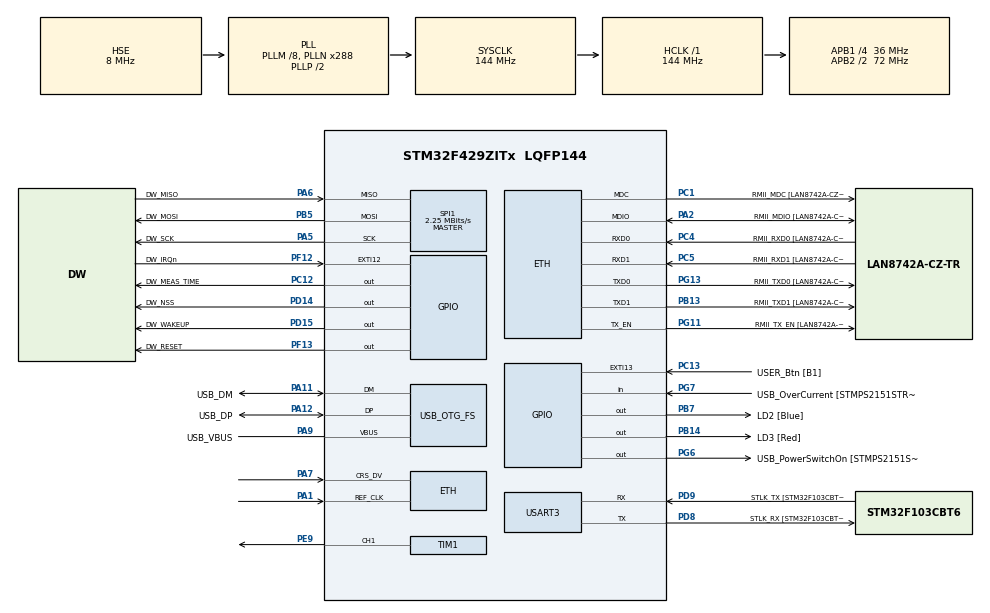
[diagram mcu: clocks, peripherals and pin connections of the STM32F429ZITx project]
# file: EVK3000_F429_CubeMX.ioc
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Dma.Request0=USART3_RX
Dma.Request1=USART3_TX
Dma.USART3_RX.0.Direction=DMA_PERIPH_TO_MEMORY
Dma.USART3_RX.0.FIFOMode=DMA_FIFOMODE_DISABLE
Dma.USART3_RX.0.Instance=DMA1_Stream1
Dma.USART3_RX.0.MemDataAlignment=DMA_MDATAALIGN_BYTE
Dma.USART3_RX.0.MemInc=DMA_MINC_ENABLE
Dma.USART3_RX.0.Mode=DMA_NORMAL
Dma.USART3_RX.0.PeriphDataAlignment=DMA_PDATAALIGN_BYTE
Dma.USART3_RX.0.PeriphInc=DMA_PINC_DISABLE
Dma.USART3_RX.0.Priority=DMA_PRIORITY_LOW
Dma.USART3_TX.1.Direction=DMA_MEMORY_TO_PERIPH
Dma.USART3_TX.1.FIFOMode=DMA_FIFOMODE_DISABLE
Dma.USART3_TX.1.Instance=DMA1_Stream3
Dma.USART3_TX.1.MemDataAlignment=DMA_MDATAALIGN_BYTE
Dma.USART3_TX.1.MemInc=DMA_MINC_ENABLE
Dma.USART3_TX.1.Mode=DMA_NORMAL
Dma.USART3_TX.1.PeriphDataAlignment=DMA_PDATAALIGN_BYTE
Dma.USART3_TX.1.PeriphInc=DMA_PINC_DISABLE
Dma.USART3_TX.1.Priority=DMA_PRIORITY_LOW
ETH.MACAddr=00\:80\:E1\:00\:00\:01
ETH.MediaInterface=ETH_MEDIA_INTERFACE_RMII
ETH.PHY_DUPLEX_STATUS=0x0010
ETH.PHY_ISFR=0x001D
ETH.PHY_ISFR_INT4=0x0010
ETH.PHY_Name_RMII=LAN8742A_PHY_ADDRESS
ETH.PHY_RESET_DELAY=0x00000FFF
ETH.PHY_SPEED_STATUS=0x0004
ETH.PHY_SR=0x1F
ETH.PhyAddress=0
LWIP.CHECKSUM_BY_HARDWARE=1
LWIP.DEFAULT_THREAD_PRIO=5
LWIP.DEFAULT_THREAD_STACKSIZE=512
LWIP.LWIP_AUTOIP=1
LWIP.LWIP_COMPAT_SOCKETS=1
LWIP.LWIP_HAVE_LOOPIF=1
LWIP.LWIP_HTTPD=0
LWIP.LWIP_ICMP=1
LWIP.LWIP_LOOPIF_MULTICAST=1
LWIP.LWIP_NETIF_LINK_CALLBACK=1
LWIP.LWIP_NETIF_LOOPBACK=1
LWIP.LWIP_NUM_NETIF_CLIENT_DATA=1
LWIP.LWIP_RAW=0
LWIP.LWIP_SNTP=0
LWIP.LWIP_SOCKET=0
LWIP.LWIP_STATS=1
LWIP.LWIP_TFTP=0
LWIP.MEMP_NUM_TCP_PCB=5
LWIP.MEMP_NUM_UDP_PCB=6
LWIP.PBUF_POOL_BUFSIZE=1524
LWIP.PBUF_POOL_SIZE=16
LWIP.SLIPIF_THREAD_PRIO=5
LWIP.TCPIP_THREAD_NAME="TCP/IP"
LWIP.TCPIP_THREAD_PRIO=5
LWIP.Version=v2.0.3_Cube
Mcu.Family=STM32F4
Mcu.Name=STM32F429ZITx
Mcu.Package=LQFP144
Mcu.UserConstants=LWIP_TIMEVAL_PRIVATE,0
NVIC.DMA1_Stream1_IRQn=true\:5\:0\:true\:true\:true\:2\:true
NVIC.DMA1_Stream3_IRQn=true\:5\:0\:true\:true\:true\:3\:true
NVIC.ETH_IRQn=true\:0\:0\:false\:true\:true\:7\:true
NVIC.OTG_FS_IRQn=true\:0\:0\:false\:false\:true\:true
NVIC.PriorityGroup=NVIC_PRIORITYGROUP_4
NVIC.TIM1_CC_IRQn=true\:5\:0\:true\:true\:true\:8\:true
NVIC.TIM6_DAC_IRQn=true\:0\:0\:false\:false\:true\:true
NVIC.TimeBase=TIM6_DAC_IRQn
NVIC.TimeBaseIP=TIM6
NVIC.USART3_IRQn=true\:5\:0\:true\:true\:true\:1\:true
PA1.Mode=RMII
PA1.Signal=ETH_REF_CLK
PA10.GPIO_Label=USB_ID
PA10.Signal=USB_OTG_FS_ID
PA11.GPIO_Label=USB_DM
PA11.Mode=Device_Only
PA11.Signal=USB_OTG_FS_DM
PA12.GPIO_Label=USB_DP
PA12.Mode=Device_Only
PA12.Signal=USB_OTG_FS_DP
PA13.GPIO_Label=TMS
PA13.Mode=Serial_Wire
PA13.Signal=SYS_JTMS-SWDIO
PA14.GPIO_Label=TCK
PA14.Mode=Serial_Wire
PA14.Signal=SYS_JTCK-SWCLK
PA2.GPIO_Label=RMII_MDIO [LAN8742A-CZ-TR_MDIO]
PA2.Mode=RMII
PA2.Signal=ETH_MDIO
PA5.GPIO_Label=DW_SCK
PA5.Mode=Full_Duplex_Master
PA5.Signal=SPI1_SCK
PA6.GPIO_Label=DW_MISO
PA6.Mode=Full_Duplex_Master
PA6.Signal=SPI1_MISO
PA7.Mode=RMII
PA7.Signal=ETH_CRS_DV
PA8.GPIO_Label=USB_SOF [TP1]
PA8.Signal=USB_OTG_FS_SOF
PA9.GPIO_Label=USB_VBUS
PA9.Mode=Activate_VBUS
PA9.Signal=USB_OTG_FS_VBUS
PB13.GPIO_Label=RMII_TXD1 [LAN8742A-CZ-TR_TXD1]
PB13.Mode=RMII
PB13.Signal=ETH_TXD1
PB14.GPIO_Label=LD3 [Red]
PB14.Signal=GPIO_Output
PB5.GPIO_Label=DW_MOSI
PB5.Mode=Full_Duplex_Master
PB5.Signal=SPI1_MOSI
PB7.GPIO_Label=LD2 [Blue]
PB7.Signal=GPIO_Output
PC1.GPIO_Label=RMII_MDC [LAN8742A-CZ-TR_MDC]
PC1.Mode=RMII
PC1.Signal=ETH_MDC
PC12.GPIO_Label=DW_MEAS_TIME
PC12.GPIO_Speed=GPIO_SPEED_FREQ_MEDIUM
PC12.Signal=GPIO_Output
PC13.GPIO_Label=USER_Btn [B1]
PC13.Signal=GPXTI13
PC14/OSC32_IN.Mode=LSE-External-Oscillator
PC14/OSC32_IN.Signal=RCC_OSC32_IN
PC15/OSC32_OUT.Mode=LSE-External-Oscillator
PC15/OSC32_OUT.Signal=RCC_OSC32_OUT
PC4.GPIO_Label=RMII_RXD0 [LAN8742A-CZ-TR_RXD0]
PC4.Mode=RMII
PC4.Signal=ETH_RXD0
PC5.GPIO_Label=RMII_RXD1 [LAN8742A-CZ-TR_RXD1]
PC5.Mode=RMII
PC5.Signal=ETH_RXD1
PD14.GPIO_Label=DW_NSS
PD14.GPIO_PuPd=GPIO_PULLUP
PD14.GPIO_Speed=GPIO_SPEED_FREQ_MEDIUM
PD14.PinState=GPIO_PIN_SET
PD14.Signal=GPIO_Output
PD15.GPIO_Label=DW_WAKEUP
PD15.GPIO_Speed=GPIO_SPEED_FREQ_MEDIUM
PD15.Signal=GPIO_Output
PD8.GPIO_Label=STLK_RX [STM32F103CBT6_PA3]
PD8.Mode=Asynchronous
PD8.Signal=USART3_TX
PD9.GPIO_Label=STLK_TX [STM32F103CBT6_PA2]
PD9.Mode=Asynchronous
PD9.Signal=USART3_RX
PE9.Signal=S_TIM1_CH1
PF12.GPIO_Label=DW_IRQn
PF12.GPIO_PuPd=GPIO_PULLDOWN
PF12.Signal=GPXTI12
PF13.GPIO_Label=DW_RESET
PF13.GPIO_ModeDefaultOutputPP=GPIO_MODE_OUTPUT_OD
PF13.GPIO_Speed=GPIO_SPEED_FREQ_MEDIUM
PF13.Signal=GPIO_Output
PG11.GPIO_Label=RMII_TX_EN [LAN8742A-CZ-TR_TXEN]
PG11.Mode=RMII
PG11.Signal=ETH_TX_EN
PG13.GPIO_Label=RMII_TXD0 [LAN8742A-CZ-TR_TXD0]
PG13.Mode=RMII
PG13.Signal=ETH_TXD0
PG6.GPIO_Label=USB_PowerSwitchOn [STMPS2151STR_EN]
PG6.Signal=GPIO_Output
PG7.GPIO_Label=USB_OverCurrent [STMPS2151STR_FAULT]
PG7.Signal=GPIO_Input
PH0/OSC_IN.GPIO_Label=MCO [STM32F103CBT6_PA8]
PH0/OSC_IN.Mode=HSE-External-Clock-Source
PH0/OSC_IN.Signal=RCC_OSC_IN
PH1/OSC_OUT.Mode=HSE-External-Clock-Source
PH1/OSC_OUT.Signal=RCC_OSC_OUT
ProjectManager.HeapSize=0x200
ProjectManager.StackSize=0x400
ProjectManager.TargetToolchain=SW4STM32
RCC.48MHZClocksFreq_Value=48000000
RCC.AHBFreq_Value=144000000
RCC.APB1CLKDivider=RCC_HCLK_DIV4
RCC.APB1Freq_Value=36000000
RCC.APB1TimFreq_Value=72000000
RCC.APB2CLKDivider=RCC_HCLK_DIV2
RCC.APB2Freq_Value=72000000
RCC.APB2TimFreq_Value=144000000
RCC.CortexFreq_Value=144000000
RCC.HCLKFreq_Value=144000000
RCC.HSE_VALUE=8000000
RCC.HSI_VALUE=16000000
RCC.PLLM=8
RCC.PLLMUL=RCC_PLL_MUL9
RCC.PLLN=288
RCC.PLLQ=6
RCC.PRESCALERUSB=RCC_USBCLKSOURCE_PLL_DIV1_5
RCC.SYSCLKFreq_VALUE=144000000
RCC.SYSCLKSource=RCC_SYSCLKSOURCE_PLLCLK
RCC.SYSCLKSourceVirtual=RCC_SYSCLKSOURCE_PLLCLK
RCC.USBFreq_Value=48000000
RCC.VCOOutputFreq_Value=288000000
SH.S_TIM1_CH1.0=TIM1_CH1,Output Compare1 CH1
SPI1.BaudRatePrescaler=SPI_BAUDRATEPRESCALER_32
SPI1.CalculateBaudRate=2.25 MBits/s
SPI1.Direction=SPI_DIRECTION_2LINES
SPI1.Mode=SPI_MODE_MASTER
SPI1.VirtualType=VM_MASTER
TIM1.Channel-Output\ Compare1\ CH1=TIM_CHANNEL_1
TIM1.ClockDivision=TIM_CLOCKDIVISION_DIV2
TIM1.Period=65535
USART3.VirtualMode=VM_ASYNC
USB_DEVICE.CLASS_NAME_FS=CDC
USB_DEVICE.VirtualMode-CDC_FS=Cdc
USB_DEVICE.VirtualModeFS=Cdc_FS
USB_OTG_FS.VirtualMode=Device_Only
VP_LWIP_VS_Enabled.Mode=Enabled
VP_RNG_VS_RNG.Mode=RNG_Activate
VP_SYS_VS_tim6.Mode=TIM6
VP_TIM1_VS_ClockSourceINT.Mode=Internal
VP_TIM1_VS_ClockSourceITR.Mode=TriggerSource_ITR0
VP_TIM1_VS_ControllerModeTrigger.Mode=Trigger Mode
VP_USB_DEVICE_VS_USB_DEVICE_CDC_FS.Mode=CDC_FS
board=NUCLEO-F429ZI

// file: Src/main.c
/**
  ******************************************************************************
  * @file           : main.c
  * @brief          : Main program body
  ******************************************************************************
  * This notice applies to any and all portions of this file
  * that are not between comment pairs USER CODE BEGIN and
  * USER CODE END. Other portions of this file, whether
  * inserted by the user or by software development tools
  * are owned by their respective copyright owners.
  *
  * Copyright (c) 2023 STMicroelectronics International N.V.
  * All rights reserved.
  *
  * Redistribution and use in source and binary forms, with or without
  * modification, are permitted, provided that the following conditions are met:
  *
  * 1. Redistribution of source code must retain the above copyright notice,
  *    this list of conditions and the following disclaimer.
  * 2. Redistributions in binary form must reproduce the above copyright notice,
  *    this list of conditions and the following disclaimer in the documentation
  *    and/or other materials provided with the distribution.
  * 3. Neither the name of STMicroelectronics nor the names of other
  *    contributors to this software may be used to endorse or promote products
  *    derived from this software without specific written permission.
  * 4. This software, including modifications and/or derivative works of this
  *    software, must execute solely and exclusively on microcontroller or
  *    microprocessor devices manufactured by or for STMicroelectronics.
  * 5. Redistribution and use of this software other than as permitted under
  *    this license is void and will automatically terminate your rights under
  *    this license.
  *
  * THIS SOFTWARE IS PROVIDED BY STMICROELECTRONICS AND CONTRIBUTORS "AS IS"
  * AND ANY EXPRESS, IMPLIED OR STATUTORY WARRANTIES, INCLUDING, BUT NOT
  * LIMITED TO, THE IMPLIED WARRANTIES OF MERCHANTABILITY, FITNESS FOR A
  * PARTICULAR PURPOSE AND NON-INFRINGEMENT OF THIRD PARTY INTELLECTUAL PROPERTY
  * RIGHTS ARE DISCLAIMED TO THE FULLEST EXTENT PERMITTED BY LAW. IN NO EVENT
  * SHALL STMICROELECTRONICS OR CONTRIBUTORS BE LIABLE FOR ANY DIRECT, INDIRECT,
  * INCIDENTAL, SPECIAL, EXEMPLARY, OR CONSEQUENTIAL DAMAGES (INCLUDING, BUT NOT
  * LIMITED TO, PROCUREMENT OF SUBSTITUTE GOODS OR SERVICES; LOSS OF USE, DATA,
  * OR PROFITS; OR BUSINESS INTERRUPTION) HOWEVER CAUSED AND ON ANY THEORY OF
  * LIABILITY, WHETHER IN CONTRACT, STRICT LIABILITY, OR TORT (INCLUDING
  * NEGLIGENCE OR OTHERWISE) ARISING IN ANY WAY OUT OF THE USE OF THIS SOFTWARE,
  * EVEN IF ADVISED OF THE POSSIBILITY OF SUCH DAMAGE.
  *
  ******************************************************************************
  */
#include "main.h"
#include "stm32f4xx_hal.h"
#include "lwip.h"
#include "usb_device.h"
#include <port.h>
#include "examples_defines.h"
#include "example_selection.h"

RNG_HandleTypeDef hrng;

SPI_HandleTypeDef hspi1;

TIM_HandleTypeDef htim1;

UART_HandleTypeDef huart3;
DMA_HandleTypeDef hdma_usart3_rx;
DMA_HandleTypeDef hdma_usart3_tx;

/* USER CODE BEGIN PV */
/* Private variables ---------------------------------------------------------*/
#define UNIT_TEST 0
/* USER CODE END PV */

void SystemClock_Config(void);
static void MX_GPIO_Init(void);
static void MX_DMA_Init(void);
static void MX_TIM1_Init(void);
static void MX_USART3_UART_Init(void);
static void MX_SPI1_Init(void);
static void MX_RNG_Init(void);
static void MX_NVIC_Init(void);

void HAL_TIM_MspPostInit(TIM_HandleTypeDef *htim);
extern example_ptr example_pointer;

extern int unit_test_main(void);
extern uint8_t CDC_Transmit_FS(uint8_t* Buf, uint16_t Len);

/* USER CODE BEGIN PFP */
/* Private function prototypes -----------------------------------------------*/

/* USER CODE END PFP */

/* USER CODE BEGIN 0 */
char* responder_addr = "00";
int mesure_distance = 0;
int is_master_connected = 0;
char result_str[32] = {0};

#ifdef DEVICE_1
  uint8_t ip_last_section = 112;
  uint8_t gateway_last_section = 112;
  uint8_t mac_last_section = 0x01;
  char* initiator_addr = "DD";
  uint8_t udp_server_port = 7;
#endif
#ifdef DEVICE_2
  uint8_t ip_last_section = 113;
  uint8_t gateway_last_section = 113;
  uint8_t mac_last_section = 0x02;
  char* initiator_addr = "EE";
  uint8_t udp_server_port = 12;
#endif
/* USER CODE END 0 */

void test_run_info(unsigned char *data)
{
    uint16_t    data_length;

    data_length=strlen((const char *)data);
    CDC_Transmit_FS(data, data_length);/*Transmit the data through USB - Virtual port*/
    CDC_Transmit_FS((uint8_t*)"\n\r", 2);/*Transmit end of line through USB - Virtual port*/
}

int main(void)
{

  /* MCU Configuration----------------------------------------------------------*/

  /* Reset of all peripherals, Initializes the Flash interface and the Systick. */
	build_examples();
  HAL_Init();

  /* Configure the system clock */
  SystemClock_Config();

  /* Initialize all configured peripherals */
  MX_GPIO_Init();
  MX_DMA_Init();
  MX_LWIP_Init();
  MX_TIM1_Init();
  MX_USART3_UART_Init();
  MX_USB_DEVICE_Init();
  MX_SPI1_Init();
  MX_RNG_Init();

  /* Initialize interrupts */
  MX_NVIC_Init();
  /* USER CODE BEGIN 2 */
  /* disable IRQ from DW3000*/
  port_DisableEXT_IRQ();

  /*
   * DW_RESET_Pin has been configured by CubeMx as Exti0 line
   * Reconfigure the line as Input
   */
  setup_DWICRSTnIRQ(0);
  if(UNIT_TEST)
  {
      unit_test_main();
  }
  else
  {

	  //Run the selected example as selected in example_selection.h
	  example_pointer();

  }
  /* USER CODE END 2 */

  /* Infinite loop */
  while (1)
  {

  }

}

void SystemClock_Config(void)
{

  RCC_OscInitTypeDef RCC_OscInitStruct;
  RCC_ClkInitTypeDef RCC_ClkInitStruct;

    /**Configure the main internal regulator output voltage
    */
  __HAL_RCC_PWR_CLK_ENABLE();

  __HAL_PWR_VOLTAGESCALING_CONFIG(PWR_REGULATOR_VOLTAGE_SCALE1);

    /**Initializes the CPU, AHB and APB busses clocks
    */
  RCC_OscInitStruct.OscillatorType = RCC_OSCILLATORTYPE_HSE;
  RCC_OscInitStruct.HSEState = RCC_HSE_BYPASS;
  RCC_OscInitStruct.PLL.PLLState = RCC_PLL_ON;
  RCC_OscInitStruct.PLL.PLLSource = RCC_PLLSOURCE_HSE;
  RCC_OscInitStruct.PLL.PLLM = 8;
  RCC_OscInitStruct.PLL.PLLN = 288;
  RCC_OscInitStruct.PLL.PLLP = RCC_PLLP_DIV2;
  RCC_OscInitStruct.PLL.PLLQ = 6;
  if (HAL_RCC_OscConfig(&RCC_OscInitStruct) != HAL_OK)
  {
    _Error_Handler(__FILE__, __LINE__);
  }

    /**Initializes the CPU, AHB and APB busses clocks
    */
  RCC_ClkInitStruct.ClockType = RCC_CLOCKTYPE_HCLK|RCC_CLOCKTYPE_SYSCLK
                              |RCC_CLOCKTYPE_PCLK1|RCC_CLOCKTYPE_PCLK2;
  RCC_ClkInitStruct.SYSCLKSource = RCC_SYSCLKSOURCE_PLLCLK;
  RCC_ClkInitStruct.AHBCLKDivider = RCC_SYSCLK_DIV1;
  RCC_ClkInitStruct.APB1CLKDivider = RCC_HCLK_DIV4;
  RCC_ClkInitStruct.APB2CLKDivider = RCC_HCLK_DIV2;

  if (HAL_RCC_ClockConfig(&RCC_ClkInitStruct, FLASH_LATENCY_4) != HAL_OK)
  {
    _Error_Handler(__FILE__, __LINE__);
  }

    /**Configure the Systick interrupt time
    */
  HAL_SYSTICK_Config(HAL_RCC_GetHCLKFreq()/1000);

    /**Configure the Systick
    */
  HAL_SYSTICK_CLKSourceConfig(SYSTICK_CLKSOURCE_HCLK);

  /* SysTick_IRQn interrupt configuration */
  HAL_NVIC_SetPriority(SysTick_IRQn, 0, 0);
}

/**
  * @brief NVIC Configuration.
  * @retval None
  */
static void MX_NVIC_Init(void)
{
  /* USART3_IRQn interrupt configuration */
  HAL_NVIC_SetPriority(USART3_IRQn, 5, 0);
  HAL_NVIC_EnableIRQ(USART3_IRQn);
  /* DMA1_Stream1_IRQn interrupt configuration */
  HAL_NVIC_SetPriority(DMA1_Stream1_IRQn, 5, 0);
  HAL_NVIC_EnableIRQ(DMA1_Stream1_IRQn);
  /* DMA1_Stream3_IRQn interrupt configuration */
  HAL_NVIC_SetPriority(DMA1_Stream3_IRQn, 5, 0);
  HAL_NVIC_EnableIRQ(DMA1_Stream3_IRQn);
  /* ETH_IRQn interrupt configuration */
  HAL_NVIC_SetPriority(ETH_IRQn, 0, 0);
  HAL_NVIC_EnableIRQ(ETH_IRQn);
  /* TIM1_CC_IRQn interrupt configuration */
  HAL_NVIC_SetPriority(TIM1_CC_IRQn, 5, 0);
  HAL_NVIC_EnableIRQ(TIM1_CC_IRQn);
}

/* RNG init function */
static void MX_RNG_Init(void)
{

  hrng.Instance = RNG;
  if (HAL_RNG_Init(&hrng) != HAL_OK)
  {
    _Error_Handler(__FILE__, __LINE__);
  }

}

/* SPI1 init function */
static void MX_SPI1_Init(void)
{

  /* SPI1 parameter configuration*/
  hspi1.Instance = SPI1;
  hspi1.Init.Mode = SPI_MODE_MASTER;
  hspi1.Init.Direction = SPI_DIRECTION_2LINES;
  hspi1.Init.DataSize = SPI_DATASIZE_8BIT;
  hspi1.Init.CLKPolarity = SPI_POLARITY_LOW;
  hspi1.Init.CLKPhase = SPI_PHASE_1EDGE;
  hspi1.Init.NSS = SPI_NSS_SOFT;
  hspi1.Init.BaudRatePrescaler = SPI_BAUDRATEPRESCALER_32;
  hspi1.Init.FirstBit = SPI_FIRSTBIT_MSB;
  hspi1.Init.TIMode = SPI_TIMODE_DISABLE;
  hspi1.Init.CRCCalculation = SPI_CRCCALCULATION_DISABLE;
  hspi1.Init.CRCPolynomial = 10;
  if (HAL_SPI_Init(&hspi1) != HAL_OK)
  {
    _Error_Handler(__FILE__, __LINE__);
  }

}

/* TIM1 init function */
static void MX_TIM1_Init(void)
{

  TIM_ClockConfigTypeDef sClockSourceConfig;
  TIM_SlaveConfigTypeDef sSlaveConfig;
  TIM_MasterConfigTypeDef sMasterConfig;
  TIM_OC_InitTypeDef sConfigOC;
  TIM_BreakDeadTimeConfigTypeDef sBreakDeadTimeConfig;

  htim1.Instance = TIM1;
  htim1.Init.Prescaler = 0;
  htim1.Init.CounterMode = TIM_COUNTERMODE_UP;
  htim1.Init.Period = 65535;
  htim1.Init.ClockDivision = TIM_CLOCKDIVISION_DIV2;
  htim1.Init.RepetitionCounter = 0;
  if (HAL_TIM_Base_Init(&htim1) != HAL_OK)
  {
    _Error_Handler(__FILE__, __LINE__);
  }

  sClockSourceConfig.ClockSource = TIM_CLOCKSOURCE_INTERNAL;
  if (HAL_TIM_ConfigClockSource(&htim1, &sClockSourceConfig) != HAL_OK)
  {
    _Error_Handler(__FILE__, __LINE__);
  }

  if (HAL_TIM_OC_Init(&htim1) != HAL_OK)
  {
    _Error_Handler(__FILE__, __LINE__);
  }

  sSlaveConfig.SlaveMode = TIM_SLAVEMODE_TRIGGER;
  sSlaveConfig.InputTrigger = TIM_TS_ITR0;
  if (HAL_TIM_SlaveConfigSynchronization(&htim1, &sSlaveConfig) != HAL_OK)
  {
    _Error_Handler(__FILE__, __LINE__);
  }

  sMasterConfig.MasterOutputTrigger = TIM_TRGO_RESET;
  sMasterConfig.MasterSlaveMode = TIM_MASTERSLAVEMODE_DISABLE;
  if (HAL_TIMEx_MasterConfigSynchronization(&htim1, &sMasterConfig) != HAL_OK)
  {
    _Error_Handler(__FILE__, __LINE__);
  }

  sConfigOC.OCMode = TIM_OCMODE_TIMING;
  sConfigOC.Pulse = 0;
  sConfigOC.OCPolarity = TIM_OCPOLARITY_HIGH;
  sConfigOC.OCNPolarity = TIM_OCNPOLARITY_HIGH;
  sConfigOC.OCFastMode = TIM_OCFAST_DISABLE;
  sConfigOC.OCIdleState = TIM_OCIDLESTATE_RESET;
  sConfigOC.OCNIdleState = TIM_OCNIDLESTATE_RESET;
  if (HAL_TIM_OC_ConfigChannel(&htim1, &sConfigOC, TIM_CHANNEL_1) != HAL_OK)
  {
    _Error_Handler(__FILE__, __LINE__);
  }

  sBreakDeadTimeConfig.OffStateRunMode = TIM_OSSR_DISABLE;
  sBreakDeadTimeConfig.OffStateIDLEMode = TIM_OSSI_DISABLE;
  sBreakDeadTimeConfig.LockLevel = TIM_LOCKLEVEL_OFF;
  sBreakDeadTimeConfig.DeadTime = 0;
  sBreakDeadTimeConfig.BreakState = TIM_BREAK_DISABLE;
  sBreakDeadTimeConfig.BreakPolarity = TIM_BREAKPOLARITY_HIGH;
  sBreakDeadTimeConfig.AutomaticOutput = TIM_AUTOMATICOUTPUT_DISABLE;
  if (HAL_TIMEx_ConfigBreakDeadTime(&htim1, &sBreakDeadTimeConfig) != HAL_OK)
  {
    _Error_Handler(__FILE__, __LINE__);
  }

  HAL_TIM_MspPostInit(&htim1);

}

/* USART3 init function */
static void MX_USART3_UART_Init(void)
{

  huart3.Instance = USART3;
  huart3.Init.BaudRate = 115200;
  huart3.Init.WordLength = UART_WORDLENGTH_8B;
  huart3.Init.StopBits = UART_STOPBITS_1;
  huart3.Init.Parity = UART_PARITY_NONE;
  huart3.Init.Mode = UART_MODE_TX_RX;
  huart3.Init.HwFlowCtl = UART_HWCONTROL_NONE;
  huart3.Init.OverSampling = UART_OVERSAMPLING_16;
  if (HAL_UART_Init(&huart3) != HAL_OK)
  {
    _Error_Handler(__FILE__, __LINE__);
  }

}

static void MX_DMA_Init(void)
{
  /* DMA controller clock enable */
  __HAL_RCC_DMA1_CLK_ENABLE();

}

/** Configure pins as
        * Analog
        * Input
        * Output
        * EVENT_OUT
        * EXTI
*/
static void MX_GPIO_Init(void)
{

  GPIO_InitTypeDef GPIO_InitStruct;

  /* GPIO Ports Clock Enable */
  __HAL_RCC_GPIOC_CLK_ENABLE();
  __HAL_RCC_GPIOH_CLK_ENABLE();
  __HAL_RCC_GPIOA_CLK_ENABLE();
  __HAL_RCC_GPIOF_CLK_ENABLE();
  __HAL_RCC_GPIOE_CLK_ENABLE();
  __HAL_RCC_GPIOB_CLK_ENABLE();
  __HAL_RCC_GPIOD_CLK_ENABLE();
  __HAL_RCC_GPIOG_CLK_ENABLE();

  /*Configure GPIO pin Output Level */
  HAL_GPIO_WritePin(DW_RESET_GPIO_Port, DW_RESET_Pin, GPIO_PIN_RESET);

  /*Configure GPIO pin Output Level */
  HAL_GPIO_WritePin(GPIOB, LD3_Pin|LD2_Pin, GPIO_PIN_RESET);

  /*Configure GPIO pin Output Level */
  HAL_GPIO_WritePin(DW_NSS_GPIO_Port, DW_NSS_Pin, GPIO_PIN_SET);

  /*Configure GPIO pin Output Level */
  HAL_GPIO_WritePin(DW_WAKEUP_GPIO_Port, DW_WAKEUP_Pin, GPIO_PIN_RESET);

  /*Configure GPIO pin Output Level */
  HAL_GPIO_WritePin(USB_PowerSwitchOn_GPIO_Port, USB_PowerSwitchOn_Pin, GPIO_PIN_RESET);

  /*Configure GPIO pin Output Level */
  HAL_GPIO_WritePin(DW_MEAS_TIME_GPIO_Port, DW_MEAS_TIME_Pin, GPIO_PIN_RESET);

  /*Configure GPIO pin : USER_Btn_Pin */
  GPIO_InitStruct.Pin = USER_Btn_Pin;
  GPIO_InitStruct.Mode = GPIO_MODE_IT_RISING;
  GPIO_InitStruct.Pull = GPIO_NOPULL;
  HAL_GPIO_Init(USER_Btn_GPIO_Port, &GPIO_InitStruct);

  /*Configure GPIO pin : DW_IRQn_Pin */
  GPIO_InitStruct.Pin = DW_IRQn_Pin;
  GPIO_InitStruct.Mode = GPIO_MODE_IT_RISING;
  GPIO_InitStruct.Pull = GPIO_PULLDOWN;
  HAL_GPIO_Init(DW_IRQn_GPIO_Port, &GPIO_InitStruct);

  /*Configure GPIO pin : DW_RESET_Pin */
  GPIO_InitStruct.Pin = DW_RESET_Pin;
  GPIO_InitStruct.Mode = GPIO_MODE_OUTPUT_OD;
  GPIO_InitStruct.Pull = GPIO_NOPULL;
  GPIO_InitStruct.Speed = GPIO_SPEED_FREQ_MEDIUM;
  HAL_GPIO_Init(DW_RESET_GPIO_Port, &GPIO_InitStruct);

  /*Configure GPIO pins : LD3_Pin LD2_Pin */
  GPIO_InitStruct.Pin = LD3_Pin|LD2_Pin;
  GPIO_InitStruct.Mode = GPIO_MODE_OUTPUT_PP;
  GPIO_InitStruct.Pull = GPIO_NOPULL;
  GPIO_InitStruct.Speed = GPIO_SPEED_FREQ_LOW;
  HAL_GPIO_Init(GPIOB, &GPIO_InitStruct);

  /*Configure GPIO pin : DW_NSS_Pin */
  GPIO_InitStruct.Pin = DW_NSS_Pin;
  GPIO_InitStruct.Mode = GPIO_MODE_OUTPUT_PP;
  GPIO_InitStruct.Pull = GPIO_PULLUP;
  GPIO_InitStruct.Speed = GPIO_SPEED_FREQ_MEDIUM;
  HAL_GPIO_Init(DW_NSS_GPIO_Port, &GPIO_InitStruct);

  /*Configure GPIO pin : DW_WAKEUP_Pin */
  GPIO_InitStruct.Pin = DW_WAKEUP_Pin;
  GPIO_InitStruct.Mode = GPIO_MODE_OUTPUT_PP;
  GPIO_InitStruct.Pull = GPIO_NOPULL;
  GPIO_InitStruct.Speed = GPIO_SPEED_FREQ_MEDIUM;
  HAL_GPIO_Init(DW_WAKEUP_GPIO_Port, &GPIO_InitStruct);

  /*Configure GPIO pin : USB_PowerSwitchOn_Pin */
  GPIO_InitStruct.Pin = USB_PowerSwitchOn_Pin;
  GPIO_InitStruct.Mode = GPIO_MODE_OUTPUT_PP;
  GPIO_InitStruct.Pull = GPIO_NOPULL;
  GPIO_InitStruct.Speed = GPIO_SPEED_FREQ_LOW;
  HAL_GPIO_Init(USB_PowerSwitchOn_GPIO_Port, &GPIO_InitStruct);

  /*Configure GPIO pin : USB_OverCurrent_Pin */
  GPIO_InitStruct.Pin = USB_OverCurrent_Pin;
  GPIO_InitStruct.Mode = GPIO_MODE_INPUT;
  GPIO_InitStruct.Pull = GPIO_NOPULL;
  HAL_GPIO_Init(USB_OverCurrent_GPIO_Port, &GPIO_InitStruct);

  /*Configure GPIO pin : DW_MEAS_TIME_Pin */
  GPIO_InitStruct.Pin = DW_MEAS_TIME_Pin;
  GPIO_InitStruct.Mode = GPIO_MODE_OUTPUT_PP;
  GPIO_InitStruct.Pull = GPIO_NOPULL;
  GPIO_InitStruct.Speed = GPIO_SPEED_FREQ_MEDIUM;
  HAL_GPIO_Init(DW_MEAS_TIME_GPIO_Port, &GPIO_InitStruct);

}

void HAL_TIM_PeriodElapsedCallback(TIM_HandleTypeDef *htim)
{
  if (htim->Instance == TIM6) {
    HAL_IncTick();
  }
}

void _Error_Handler(char *file, int line)
{
	UNUSED(file);
	UNUSED(line);
  while(1)
  {
  }
}

/************************ (C) COPYRIGHT STMicroelectronics *****END OF FILE****/
